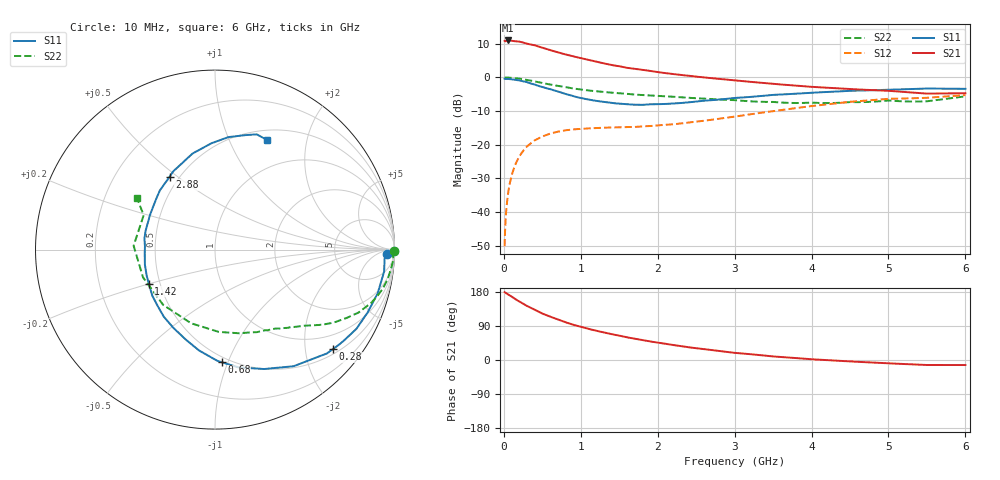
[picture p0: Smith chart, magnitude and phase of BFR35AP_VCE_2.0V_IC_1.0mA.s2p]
! Infineon Technologies  Discrete & RF Semiconductors
! BFR35AP
! VCE =  2.0 V,  IC =  1.0 mA
! Common Emitter S-Parameters:  Nov 2015
# GHz  S  MA  R  50
!  f  S11  S21  S12  S22
! GHz  MAG  ANG  MAG  ANG  MAG  ANG  MAG  ANG
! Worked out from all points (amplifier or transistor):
!   210 points, 10 MHz to 6 GHz, reference 50 ohm
!   highest |S21| = 11.0 dB at 50 MHz (marker M1)
!   |S21| within 3 dB of that: start of sweep to 622 MHz
!   unconditionally stable (mu >= 1): 1.397 GHz to end of sweep
!   at 185 MHz: K = 0.16, MSG = 17.4 dB, |S12| = -24.2 dB
!   at 1.52 GHz: K = 1.06, MAG = 7.5 dB, |S12| = -14.9 dB
!   at 6 GHz: K = 1.05, MAG = -1.1 dB, |S12| = -5.3 dB
!   S11 on the Smith chart (normalised r, x): 10 MHz: 33, -19; 280 MHz: 0.61, -2.61; 680 MHz: 0.46, -0.95; 1.42 GHz: 0.43, -0.20; 2.88 GHz: 0.44, +0.47; 6 GHz: 0.62, +1.39
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0.01  0.9559 -1.5  3.493 179.1  0.0031 90.5  0.9988 -0.6
0.015  0.951 -2.3  3.465 178.3  0.0049 88.5  0.995 -0.9
0.025  0.9465 -3.8  3.453 176.8  0.0084 86.9  0.9918 -1.7
0.05  0.9502 -7.4  3.54 173.8  0.0171 85.6  0.9954 -3.4
0.085  0.9403 -12.7  3.516 169.5  0.0292 82.3  0.9875 -5.8
0.135  0.9239 -20.1  3.454 162.6  0.0458 77.3  0.9773 -9.1
0.2  0.9034 -29.2  3.411 154.5  0.0665 71.7  0.9593 -13.2
0.28  0.8594 -40.2  3.219 145.1  0.0885 65.2  0.9272 -17.7
0.4  0.7836 -56.0  3.006 132.7  0.1158 56.8  0.8741 -23.6
0.5  0.7197 -67.6  2.771 122.6  0.1324 50.9  0.8243 -27.6
0.68  0.6286 -86.6  2.4 108.4  0.1537 42.6  0.7561 -33.0
0.82  0.5595 -100.7  2.167 98.4  0.1645 37.9  0.71 -36.3
1.02  0.4883 -119.7  1.91 86.4  0.172 33.6  0.6553 -40.3
1.2  0.4482 -135.4  1.713 77.1  0.1765 30.9  0.6221 -43.8
1.42  0.4147 -152.8  1.514 67.4  0.1799 29.5  0.5916 -47.5
1.7  0.3928 -175.7  1.342 56.2  0.1833 30.7  0.5551 -52.4
2.02  0.4007 163.5  1.191 45.2  0.1943 32.9  0.5276 -58.8
2.88  0.4778 122.0  0.931 21.9  0.2503 38.2  0.4645 -83.0
3.1  0.5023 114.9  0.882 17.2  0.2717 37.9  0.449 -91.3
4.1  0.5994 90.1  0.713 0.9  0.3861 30.7  0.4169 -138.3
5.1  0.6599 75.1  0.62 -9.7  0.4826 15.9  0.4457 172.8
6  0.676 64.6  0.582 -13.3  0.5454 4.6  0.5223 146.5
